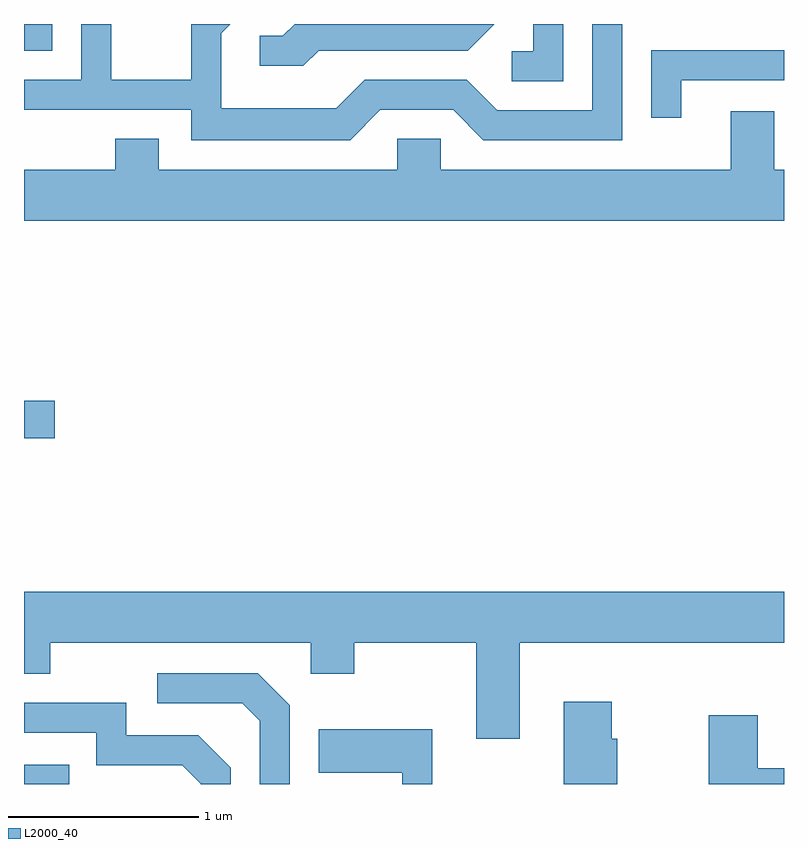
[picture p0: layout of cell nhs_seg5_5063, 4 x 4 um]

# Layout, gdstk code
import gdstk
lib = gdstk.Library(unit=1e-6, precision=1e-09)
def R(c, l, rs):  # rectangles x0, y0, x1, y1
    for r in rs: c.add(gdstk.rectangle(r[:2], r[2:], *l))
def P(c, l, *ps):  # polygons
    for p in ps: c.add(gdstk.Polygon(p, *l))
L2000_40 = (2000, 40)

nhs_seg5_5063 = lib.new_cell('nhs_seg5_5063')
R(nhs_seg5_5063, L2000_40, [(335.611,1436.072,335.848,1436.174), (335.611,1437.891,335.774,1438.089), (335.611,1439.931,335.759,1440.072)])
P(nhs_seg5_5063, L2000_40, [(338.449,1440.072),(338.291,1440.072),(338.291,1439.929),(338.178,1439.929),(338.178,1439.771),(338.449,1439.771)],
  [(337.162,1439.931),(337.947,1439.931),(338.087,1440.072),(337.036,1440.072),(336.974,1440.009),(336.853,1440.009),(336.853,1439.851),(337.082,1439.851)],
  [(337.487,1439.621),(337.869,1439.621),(338.029,1439.461),(338.759,1439.461),(338.759,1440.072),(338.601,1440.072),(338.601,1439.619),(338.102,1439.619),(337.942,1439.779),(337.404,1439.779),(337.254,1439.629),(336.649,1439.629),(336.649,1440.024),(336.697,1440.072),(336.491,1440.072),(336.491,1439.779),(336.069,1439.779),(336.069,1440.072),(335.911,1440.072),(335.911,1439.779),(335.611,1439.779),(335.611,1439.621),(336.491,1439.621),(336.491,1439.461),(337.327,1439.461)],
  [(339.069,1439.776),(339.611,1439.776),(339.611,1439.934),(338.911,1439.934),(338.911,1439.578),(339.069,1439.578)],
  [(339.611,1439.304),(339.559,1439.304),(339.559,1439.614),(339.331,1439.614),(339.331,1439.304),(337.804,1439.304),(337.804,1439.469),(337.576,1439.469),(337.576,1439.304),(336.319,1439.304),(336.319,1439.469),(336.091,1439.469),(336.091,1439.304),(335.611,1439.304),(335.611,1439.036),(339.611,1439.036)],
  [(338.219,1436.816),(339.611,1436.816),(339.611,1437.084),(335.611,1437.084),(335.611,1436.651),(335.749,1436.651),(335.749,1436.816),(337.121,1436.816),(337.121,1436.651),(337.349,1436.651),(337.349,1436.816),(337.991,1436.816),(337.991,1436.311),(338.219,1436.311)],
  [(337.009,1436.487),(336.842,1436.654),(336.313,1436.654),(336.313,1436.496),(336.759,1436.496),(336.851,1436.404),(336.851,1436.072),(337.009,1436.072)],
  [(338.734,1436.309),(338.704,1436.309),(338.704,1436.504),(338.451,1436.504),(338.451,1436.072),(338.734,1436.072)],
  [(336.699,1436.157),(336.527,1436.329),(336.149,1436.329),(336.149,1436.499),(335.611,1436.499),(335.611,1436.341),(335.991,1436.341),(335.991,1436.171),(336.444,1436.171),(336.541,1436.074),(336.541,1436.072),(336.699,1436.072)],
  [(339.611,1436.154),(339.474,1436.154),(339.474,1436.434),(339.216,1436.434),(339.216,1436.072),(339.611,1436.072)],
  [(337.759,1436.359),(337.161,1436.359),(337.161,1436.131),(337.601,1436.131),(337.601,1436.072),(337.759,1436.072)])

lib.write_gds('nhs_seg5_5063.gds')
